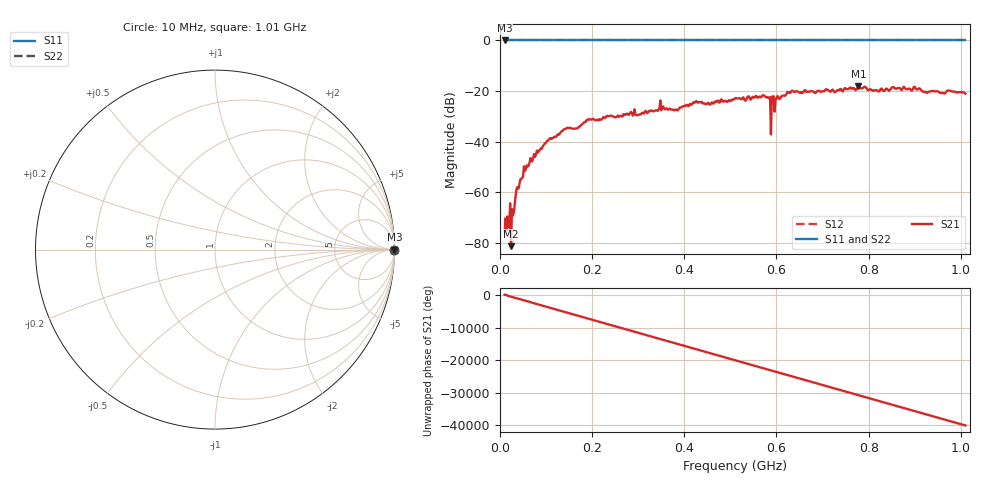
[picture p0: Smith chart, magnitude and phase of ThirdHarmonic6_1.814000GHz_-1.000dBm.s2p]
! 8/16/2025 9:58:52 PM
! C:\ANRITSUVNA\TEMP\TEMP.S2P
! CHANNEL.1
! TR.MEASUREMENT
! RAW.DATA
! RF.CORRECTION.OFF
! AVERAGING.OFF
! IF.BANDWIDTH: 5KHZ
! SWEEPTYPE:  FREQ.SWEEP(Linear)
! Reference Plane Port Info
! PORT:  PORT1  PORT2
! DISTANCE:  0  m  0  m
! TIME:  0  s  0  s
! PHASE.OFFSET:  0  deg.  0  deg.
! LOSS:  0  dB  0  dB
! REF.LOSS:  0  dB  0  dB
! REF.FREQ:  0  Hz  0  Hz
! Power Info
! POWER:  -20  dBm  -20  dBm
! EFF.POWER:  -20  dBm  -20  dBm
! SOURCE.ATTEN:  0  dB  0  dB
! TEST.ATTEN:  0  dB  0  dB
# GHZ S RI R 50.0
! FREQ.GHZ  S11RE  S11IM  S21RE  S21IM  S12RE  S12IM  S22RE  S22IM
!; PortSelection: Port_12
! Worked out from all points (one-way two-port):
!   501 points, 10 MHz to 1.01 GHz, reference 50 ohm
!   highest |S21| = -18.16 dB at 778 MHz (marker M1); lowest = -81.3 dB at 24 MHz (marker M2)
!   lowest |S11| = 0.0 dB at 10 MHz (marker M3)
!   |S11| at or under -10 dB: nowhere
!   |S22| runs from 0.0 to 0.0 dB; largest |S21 - S12| = 1.1
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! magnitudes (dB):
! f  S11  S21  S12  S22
! 10 MHz  0.0  -75.9  0.0  0.0
! 24 MHz  0.0  -81.3  0.0  0.0
! 28 MHz  0.0  -69.1  0.0  0.0
! 30 MHz  0.0  -68.1  0.0  0.0
! 40 MHz  0.0  -58.6  0.0  0.0
! 70 MHz  0.0  -47.8  0.0  0.0
! 106 MHz  0.0  -39.2  0.0  0.0
! 178 MHz  0.0  -33.2  0.0  0.0
! 344 MHz  0.0  -27.5  0.0  0.0
! 382 MHz  0.0  -27.3  0.0  0.0
! 424 MHz  0.0  -24.2  0.0  0.0
! 510 MHz  0.0  -22.9  0.0  0.0
! 574 MHz  0.0  -21.9  0.0  0.0
! 582 MHz  0.0  -22.6  0.0  0.0
! 584 MHz  0.0  -22.9  0.0  0.0
! 592 MHz  0.0  -22.8  0.0  0.0
! 594 MHz  0.0  -22.0  0.0  0.0
! 628 MHz  0.0  -20.8  0.0  0.0
! 678 MHz  0.0  -20.1  0.0  0.0
! 778 MHz  0.0  -18.2  0.0  0.0
! 844 MHz  0.0  -19.9  0.0  0.0
! 1.01 GHz  0.0  -21.1  0.0  0.0
